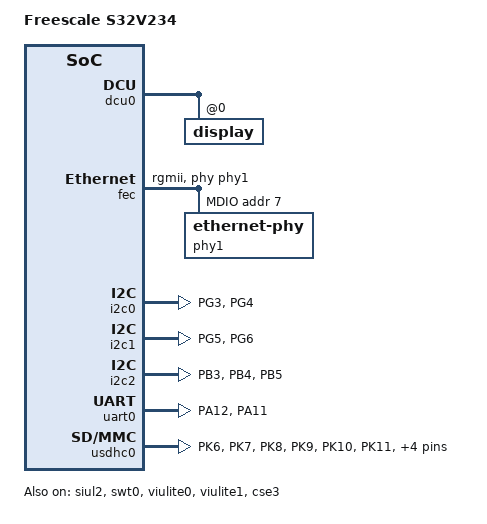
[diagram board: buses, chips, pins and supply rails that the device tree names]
/*
 * Copyright 2015 Freescale Semiconductor, Inc.
 *
 * This program is free software; you can redistribute it and/or modify
 * it under the terms of the GNU General Public License as published by
 * the Free Software Foundation; either version 2 of the License, or
 * (at your option) any later version.
 */

/dts-v1/;
#include "s32v234.dtsi"
/ {
	model = "Freescale S32V234";
	compatible = "fsl,s32v234-evb", "fsl,s32v234", "arm,vexpress,v2p-aarch64", "arm,vexpress";

	chosen {
		bootargs = "console=ttyAMA0";
		//bootargs = "root=/dev/ram rdinit=/bin/bash rw console=ttyAMA0 earlycon=pl011,0x40053000";
		linux,initrd-start = <0x90000000>;
		linux,initrd-end   = <0x900E3C95>;
	};

};

&dcu0 {
	display = <&display>;
	status = "okay";
	display: display@0 {
		bits-per-pixel = <32>;

		display-timings {
			native-mode = <&timing0>;

			timing0: nl4827hc19 {
				clock-frequency = <56000000>;
				hactive = <1920>;
				vactive = <1080>;
				hback-porch = <30>;
				hfront-porch = <60>;
				vback-porch = <30>;
				vfront-porch = <3>;
				hsync-len = <60>;
				vsync-len = <3>;
			};
		};
	};
};
&fec {
	phy-mode = "rgmii";
	phy-handle = <&phy1>;
	status = "okay";
	mdio {
		#address-cells = <1>;
		#size-cells = <0>;
		/*
		phy0: ethernet-phy@1 {
			reg = <1>;
		};
		*/
		phy1: ethernet-phy@7 {
			reg = <7>;
		};
	};
};
&i2c0 {
	pinctrl-names = "default";
	pinctrl-0 = <&pinctrl_i2c0>;
	status = "okay";
};
&i2c1 {
	pinctrl-names = "default";
	pinctrl-0 = <&pinctrl_i2c1>;
	status = "okay";
};
&i2c2 {
	pinctrl-names = "default";
	pinctrl-0 = <&pinctrl_i2c2>;
	status = "okay";
};

&siul2 {
	status = "okay";
	s32v234-evb {
		pinctrl_usdhc0: usdhc0grp {
			fsl,pins = <
				S32V234_PAD_PK6__USDHC_CLK_OUT
				S32V234_PAD_PK6__USDHC_CLK_IN
				S32V234_PAD_PK7__USDHC_CMD_OUT
				S32V234_PAD_PK7__USDHC_CMD_IN
				S32V234_PAD_PK8__USDHC_DAT0_OUT
				S32V234_PAD_PK8__USDHC_DAT0_IN
				S32V234_PAD_PK9__USDHC_DAT1_OUT
				S32V234_PAD_PK9__USDHC_DAT1_IN
				S32V234_PAD_PK10__USDHC_DAT2_OUT
				S32V234_PAD_PK10__USDHC_DAT2_IN
				S32V234_PAD_PK11__USDHC_DAT3_OUT
				S32V234_PAD_PK11__USDHC_DAT3_IN
				S32V234_PAD_PK15__USDHC_DAT4_OUT
				S32V234_PAD_PK15__USDHC_DAT4_IN
				S32V234_PAD_PL0__USDHC_DAT5_OUT
				S32V234_PAD_PL0__USDHC_DAT5_IN
				S32V234_PAD_PL1__USDHC_DAT6_OUT
				S32V234_PAD_PL1__USDHC_DAT6_IN
				S32V234_PAD_PL2__USDHC_DAT7_OUT
				S32V234_PAD_PL2__USDHC_DAT7_IN
			>;
		};
		pinctrl_uart0: uart0grp {
			fsl,pins = <
				S32V234_PAD_PA12__UART0_TXD
				S32V234_PAD_PA11__UART0_RXD_OUT
				S32V234_PAD_PA11__UART0_RXD_IN
			>;
		};
		pinctrl_i2c0: i2c0grp {
			fsl,pins = <
				S32V234_PAD_PG3__I2C0_DATA_OUT
				S32V234_PAD_PG3__I2C0_DATA_IN
				S32V234_PAD_PG4__I2C0_SCLK_OUT
				S32V234_PAD_PG4__I2C0_SCLK_IN
			>;
		};
		pinctrl_i2c1: i2c1grp {
			fsl,pins = <
				S32V234_PAD_PG5__I2C1_DATA_OUT
				S32V234_PAD_PG5__I2C1_DATA_IN
				S32V234_PAD_PG6__I2C1_SCLK_OUT
				S32V234_PAD_PG6__I2C1_SCLK_IN
			>;
		};
		pinctrl_i2c2: i2c2grp {
			fsl,pins = <
				S32V234_PAD_PB3__I2C2_DATA_OUT
				S32V234_PAD_PB3__I2C2_DATA_IN
				S32V234_PAD_PB4__I2C2_SCLK_OUT
				S32V234_PAD_PB5__I2C2_SCLK_IN
			>;
		};
		pinctrl_enet: enetgrp {
			fsl,pins = <
				S32V234_PAD_PC13__MDC
				S32V234_PAD_PC14__MDIO_OUT
				S32v234_PAD_PC14__MDIO_IN
				S32V234_PAD_PC15__TXCLK_OUT
				S32V234_PAD_PC15__TXCLK_IN
				S32V234_PAD_PD0__RXCLK_OUT
				S32V234_PAD_PD0__RXCLK_IN
				S32V234_PAD_PD1__RX_D0_OUT
				S32V234_PAD_PD1__RX_D0_IN
				S32V234_PAD_PD2__RX_D1_OUT
				S32V234_PAD_PD2__RX_D1_IN
				S32V234_PAD_PD3__RX_D2_OUT
				S32V234_PAD_PD3__RX_D2_IN
				S32V234_PAD_PD4__RX_D3_OUT
				S32V234_PAD_PD4__RX_D3_IN
				S32V234_PAD_PD4__RX_DV_OUT
				S32V234_PAD_PD4__RX_DV_IN
				S32V234_PAD_PD7__TX_D0_OUT
				S32V234_PAD_PD8__TX_D1_OUT
				S32V234_PAD_PD9__TX_D2_OUT
				S32V234_PAD_PD10__TX_D3_OUT
				S32V234_PAD_PD11__TX_EN_OUT
			>;
		};
	};
};

&swt0 {
	status = "okay";
};
&uart0 {
	pinctrl-names = "default";
	pinctrl-0 = <&pinctrl_uart0>;
	status = "okay";
};
&usdhc0 {
	no-1-8-V;
	pinctrl-names = "default";
	pinctrl-0 = <&pinctrl_usdhc0>;
	status = "okay";
};
&viulite0{
	status = "okay";
};
&viulite1{
	status = "okay";
};
&cse3 {
	status = "okay";
};
